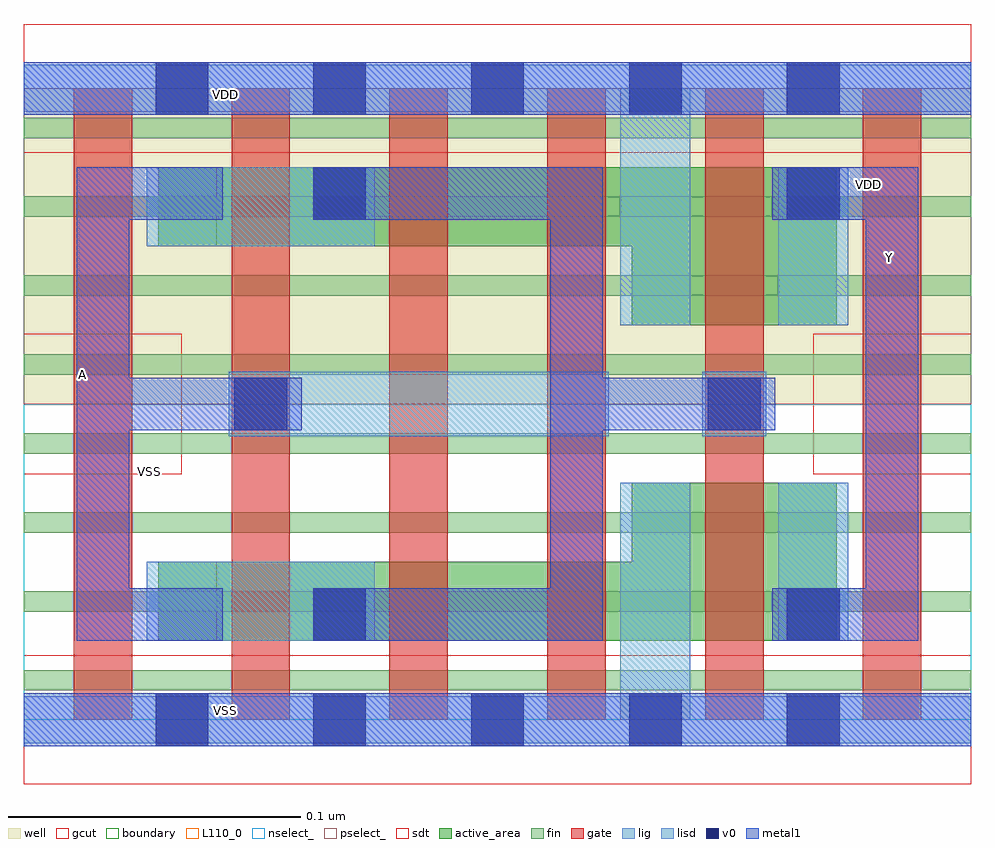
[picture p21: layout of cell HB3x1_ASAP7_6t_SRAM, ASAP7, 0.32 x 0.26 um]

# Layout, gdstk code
import gdstk
lib = gdstk.Library(unit=1e-6, precision=2.5e-10)
def R(c, l, rs):  # rectangles x0, y0, x1, y1
    for r in rs: c.add(gdstk.rectangle(r[:2], r[2:], *l))
def A(c, l, x, y, w, h, nx, ny, dx, dy):  # array of equal rectangles
    R(c, l, [(x+i*dx, y+j*dy, x+i*dx+w, y+j*dy+h) for i in range(nx) for j in range(ny)])
def P(c, l, *ps):  # polygons
    for p in ps: c.add(gdstk.Polygon(p, *l))
well = (1, 0)
fin = (2, 0)
gate = (7, 0)
gcut = (10, 0)
active_area = (11, 0)
nselect_ = (12, 0)
pselect_ = (13, 0)
lig = (16, 0)
lisd = (17, 0)
v0 = (18, 0)
metal1 = (19, 0)
sdt = (88, 0)
boundary = (100, 0)
L110_0 = (110, 0)

hb3x1_asap7_6t_sram = lib.new_cell('HB3x1_ASAP7_6t_SRAM')
R(hb3x1_asap7_6t_sram, well, [(0,0.108,0.324,0.216)])
A(hb3x1_asap7_6t_sram, fin, 0, 0.01, 0.324, 0.007, 1, 8, 0, 0.027)
A(hb3x1_asap7_6t_sram, gate, 0.017, 0, 0.02, 0.216, 6, 1, 0.054, 0)
R(hb3x1_asap7_6t_sram, gcut, [(0,-0.022,0.324,0.022), (0,0.084,0.054,0.132), (0.27,0.084,0.324,0.132), (0,0.194,0.324,0.238)])
P(hb3x1_asap7_6t_sram, active_area, [(0.278,0.081),(0.208,0.081),(0.208,0.054),(0.046,0.054),(0.046,0.027),(0.278,0.027)],
  [(0.278,0.189),(0.046,0.189),(0.046,0.162),(0.208,0.162),(0.208,0.135),(0.278,0.135)])
R(hb3x1_asap7_6t_sram, nselect_, [(0,0,0.324,0.108)])
R(hb3x1_asap7_6t_sram, pselect_, [(0,0.108,0.324,0.216)])
R(hb3x1_asap7_6t_sram, lig, [(0,-0.008,0.324,0.008), (0.07,0.097,0.2,0.119), (0.232,0.097,0.254,0.119), (0,0.208,0.324,0.224)])
R(hb3x1_asap7_6t_sram, lisd, [(0.204,0,0.228,0.081), (0.042,0.027,0.12,0.054), (0.258,0.027,0.282,0.081), (0.204,0.135,0.228,0.216), (0.258,0.135,0.282,0.189), (0.042,0.162,0.12,0.189)])
A(hb3x1_asap7_6t_sram, v0, 0.045, -0.009, 0.018, 0.018, 5, 2, 0.054, 0.216)
R(hb3x1_asap7_6t_sram, v0, [(0.099,0.027,0.117,0.045), (0.261,0.027,0.279,0.045), (0.072,0.099,0.09,0.117), (0.234,0.099,0.252,0.117), (0.099,0.171,0.117,0.189), (0.261,0.171,0.279,0.189)])
R(hb3x1_asap7_6t_sram, metal1, [(0,-0.009,0.324,0.009), (0,0.207,0.324,0.225)])
P(hb3x1_asap7_6t_sram, metal1, [(0.306,0.189),(0.256,0.189),(0.256,0.171),(0.288,0.171),(0.288,0.045),(0.256,0.045),(0.256,0.027),(0.306,0.027)],
  [(0.257,0.117),(0.198,0.117),(0.198,0.189),(0.099,0.189),(0.099,0.171),(0.18,0.171),(0.18,0.045),(0.099,0.045),(0.099,0.027),(0.198,0.027),(0.198,0.099),(0.257,0.099)],
  [(0.095,0.117),(0.036,0.117),(0.036,0.171),(0.068,0.171),(0.068,0.189),(0.018,0.189),(0.018,0.027),(0.068,0.027),(0.068,0.045),(0.036,0.045),(0.036,0.099),(0.095,0.099)])
R(hb3x1_asap7_6t_sram, sdt, [(0.042,0.027,0.066,0.054), (0.204,0.027,0.228,0.081), (0.258,0.027,0.282,0.081), (0.204,0.135,0.228,0.189), (0.258,0.135,0.282,0.189), (0.042,0.162,0.066,0.189)])
R(hb3x1_asap7_6t_sram, boundary, [(0,0,0.324,0.216)])
R(hb3x1_asap7_6t_sram, L110_0, [(0,0,0.324,0.216)])
hb3x1_asap7_6t_sram.add(gdstk.Label('VDD', (0.069,0.214), layer=19, texttype=251))
hb3x1_asap7_6t_sram.add(gdstk.Label('VSS', (0.069,0.003), layer=19, texttype=251))
hb3x1_asap7_6t_sram.add(gdstk.Label('A', (0.02,0.118), layer=19, texttype=251))
hb3x1_asap7_6t_sram.add(gdstk.Label('Y', (0.296,0.158), layer=19, texttype=251))
hb3x1_asap7_6t_sram.add(gdstk.Label('VDD', (0.289,0.183), layer=1, texttype=251))
hb3x1_asap7_6t_sram.add(gdstk.Label('VSS', (0.043,0.085), layer=3, texttype=251))

lib.write_gds('HB3x1_ASAP7_6t_SRAM.gds')
